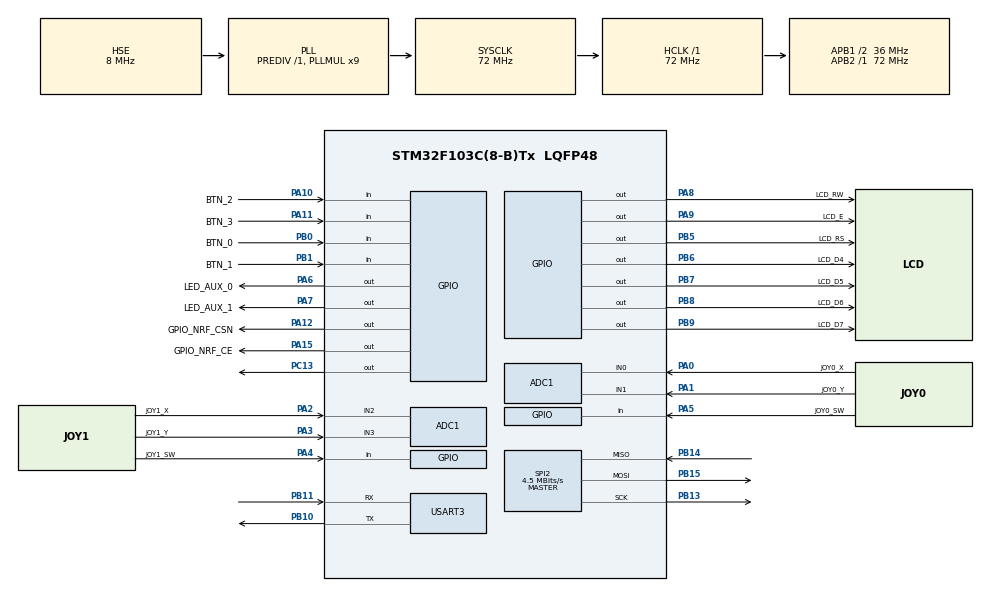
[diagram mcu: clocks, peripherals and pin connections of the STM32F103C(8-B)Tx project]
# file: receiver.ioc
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ADC1.Channel-2\#ChannelRegularConversion=ADC_CHANNEL_0
ADC1.Channel-3\#ChannelRegularConversion=ADC_CHANNEL_1
ADC1.Channel-4\#ChannelRegularConversion=ADC_CHANNEL_2
ADC1.Channel-5\#ChannelRegularConversion=ADC_CHANNEL_3
ADC1.ContinuousConvMode=ENABLE
ADC1.NbrOfConversion=4
ADC1.NbrOfConversionFlag=1
ADC1.Rank-2\#ChannelRegularConversion=1
ADC1.Rank-3\#ChannelRegularConversion=2
ADC1.Rank-4\#ChannelRegularConversion=3
ADC1.Rank-5\#ChannelRegularConversion=4
ADC1.SamplingTime-2\#ChannelRegularConversion=ADC_SAMPLETIME_239CYCLES_5
ADC1.SamplingTime-3\#ChannelRegularConversion=ADC_SAMPLETIME_239CYCLES_5
ADC1.SamplingTime-4\#ChannelRegularConversion=ADC_SAMPLETIME_239CYCLES_5
ADC1.SamplingTime-5\#ChannelRegularConversion=ADC_SAMPLETIME_239CYCLES_5
ADC1.master=1
Dma.ADC1.0.Direction=DMA_PERIPH_TO_MEMORY
Dma.ADC1.0.Instance=DMA1_Channel1
Dma.ADC1.0.MemDataAlignment=DMA_MDATAALIGN_HALFWORD
Dma.ADC1.0.MemInc=DMA_MINC_ENABLE
Dma.ADC1.0.Mode=DMA_CIRCULAR
Dma.ADC1.0.PeriphDataAlignment=DMA_PDATAALIGN_HALFWORD
Dma.ADC1.0.PeriphInc=DMA_PINC_DISABLE
Dma.ADC1.0.Priority=DMA_PRIORITY_LOW
Dma.Request0=ADC1
Mcu.Family=STM32F1
Mcu.Name=STM32F103C(8-B)Tx
Mcu.Package=LQFP48
NVIC.DMA1_Channel1_IRQn=true\:0\:0\:false\:false\:true\:false\:true\:true
NVIC.PriorityGroup=NVIC_PRIORITYGROUP_4
NVIC.TIM3_IRQn=true\:0\:0\:false\:false\:true\:true\:true\:true
NVIC.TIM4_IRQn=true\:0\:0\:false\:false\:true\:true\:true\:true
NVIC.USART3_IRQn=true\:0\:0\:false\:false\:true\:true\:true\:true
PA0-WKUP.GPIO_Label=JOY0_X
PA0-WKUP.Signal=ADCx_IN0
PA1.GPIO_Label=JOY0_Y
PA1.Signal=ADCx_IN1
PA10.GPIO_Label=BTN_2
PA10.GPIO_PuPd=GPIO_PULLDOWN
PA10.Signal=GPIO_Input
PA11.GPIO_Label=BTN_3
PA11.GPIO_PuPd=GPIO_PULLDOWN
PA11.Signal=GPIO_Input
PA12.GPIO_Label=GPIO_NRF_CSN
PA12.Signal=GPIO_Output
PA13.Mode=Serial_Wire
PA13.Signal=SYS_JTMS-SWDIO
PA14.Mode=Serial_Wire
PA14.Signal=SYS_JTCK-SWCLK
PA15.GPIO_Label=GPIO_NRF_CE
PA15.Signal=GPIO_Output
PA2.GPIO_Label=JOY1_X
PA2.Signal=ADCx_IN2
PA3.GPIO_Label=JOY1_Y
PA3.Signal=ADCx_IN3
PA4.GPIO_Label=JOY1_SW
PA4.GPIO_PuPd=GPIO_PULLUP
PA4.Signal=GPIO_Input
PA5.GPIO_Label=JOY0_SW
PA5.GPIO_PuPd=GPIO_PULLUP
PA5.Signal=GPIO_Input
PA6.GPIO_Label=LED_AUX_0
PA6.Signal=GPIO_Output
PA7.GPIO_Label=LED_AUX_1
PA7.Signal=GPIO_Output
PA8.GPIO_Label=LCD_RW
PA8.Signal=GPIO_Output
PA9.GPIO_Label=LCD_E
PA9.Signal=GPIO_Output
PB0.GPIO_Label=BTN_0
PB0.GPIO_PuPd=GPIO_PULLDOWN
PB0.Signal=GPIO_Input
PB1.GPIO_Label=BTN_1
PB1.GPIO_PuPd=GPIO_PULLDOWN
PB1.Signal=GPIO_Input
PB10.Mode=Asynchronous
PB10.Signal=USART3_TX
PB11.Mode=Asynchronous
PB11.Signal=USART3_RX
PB13.Mode=Full_Duplex_Master
PB13.Signal=SPI2_SCK
PB14.Mode=Full_Duplex_Master
PB14.Signal=SPI2_MISO
PB15.Mode=Full_Duplex_Master
PB15.Signal=SPI2_MOSI
PB5.GPIO_Label=LCD_RS
PB5.Signal=GPIO_Output
PB6.GPIO_Label=LCD_D4
PB6.Signal=GPIO_Output
PB7.GPIO_Label=LCD_D5
PB7.Signal=GPIO_Output
PB8.GPIO_Label=LCD_D6
PB8.Signal=GPIO_Output
PB9.GPIO_Label=LCD_D7
PB9.Signal=GPIO_Output
PC13-TAMPER-RTC.Signal=GPIO_Output
PC14-OSC32_IN.Mode=LSE-External-Oscillator
PC14-OSC32_IN.Signal=RCC_OSC32_IN
PC15-OSC32_OUT.Mode=LSE-External-Oscillator
PC15-OSC32_OUT.Signal=RCC_OSC32_OUT
PD0-OSC_IN.Mode=HSE-External-Oscillator
PD0-OSC_IN.Signal=RCC_OSC_IN
PD1-OSC_OUT.Mode=HSE-External-Oscillator
PD1-OSC_OUT.Signal=RCC_OSC_OUT
ProjectManager.HeapSize=0x200
ProjectManager.StackSize=0x400
ProjectManager.TargetToolchain=Makefile
RCC.ADCPresc=RCC_ADCPCLK2_DIV6
RCC.AHBFreq_Value=72000000
RCC.APB1CLKDivider=RCC_HCLK_DIV2
RCC.APB1Freq_Value=36000000
RCC.APB1TimFreq_Value=72000000
RCC.APB2Freq_Value=72000000
RCC.APB2TimFreq_Value=72000000
RCC.HCLKFreq_Value=72000000
RCC.PLLMUL=RCC_PLL_MUL9
RCC.PLLSourceVirtual=RCC_PLLSOURCE_HSE
RCC.SYSCLKFreq_VALUE=72000000
RCC.SYSCLKSource=RCC_SYSCLKSOURCE_PLLCLK
RCC.USBFreq_Value=48000000
RCC.USBPrescaler=RCC_USBCLKSOURCE_PLL_DIV1_5
SH.ADCx_IN0.0=ADC1_IN0,IN0
SH.ADCx_IN1.0=ADC1_IN1,IN1
SH.ADCx_IN2.0=ADC1_IN2,IN2
SH.ADCx_IN3.0=ADC1_IN3,IN3
SPI2.BaudRatePrescaler=SPI_BAUDRATEPRESCALER_8
SPI2.CalculateBaudRate=4.5 MBits/s
SPI2.Direction=SPI_DIRECTION_2LINES
SPI2.Mode=SPI_MODE_MASTER
SPI2.VirtualType=VM_MASTER
TIM3.Period=65535
TIM3.Prescaler=72-1
TIM3.TIM_MasterOutputTrigger=TIM_TRGO_UPDATE
TIM4.Period=36-1
TIM4.Prescaler=10000-1
USART3.VirtualMode=VM_ASYNC
VP_TIM3_VS_ClockSourceINT.Mode=Internal
VP_TIM3_VS_OPM.Mode=OPM_bit
VP_TIM4_VS_ClockSourceINT.Mode=Internal
board=custom

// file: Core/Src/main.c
/* USER CODE BEGIN Header */
/**
 ******************************************************************************
 * @file           : main.c
 * @brief          : Main program body
 ******************************************************************************
 * @attention
 *
 * Copyright (c) 2023 STMicroelectronics.
 * All rights reserved.
 *
 * This software is licensed under terms that can be found in the LICENSE file
 * in the root directory of this software component.
 * If no LICENSE file comes with this software, it is provided AS-IS.
 *
 ******************************************************************************
 */
/* USER CODE END Header */
#include "main.h"

/* USER CODE BEGIN Includes */
#include "crc16.h"
#include "debouncer.h"
#include "lcd.h"
#include "message.h"
#include "nRF24.h"
#include "nRF24_Defs.h"
#include "queue.h"
#include <memory.h>
#include <stdio.h>
/* USER CODE END Includes */

ADC_HandleTypeDef hadc1;
DMA_HandleTypeDef hdma_adc1;

SPI_HandleTypeDef hspi2;

TIM_HandleTypeDef htim3;
TIM_HandleTypeDef htim4;

UART_HandleTypeDef huart3;

void SystemClock_Config(void);
static void MX_GPIO_Init(void);
static void MX_DMA_Init(void);
static void MX_TIM3_Init(void);
static void MX_ADC1_Init(void);
static void MX_SPI2_Init(void);
static void MX_TIM4_Init(void);
static void MX_USART3_UART_Init(void);

/* USER CODE BEGIN 0 */

enum ReceiveState {
    RxHeader,
    RxType,
    RxLength,
    RxReceiving,
    RxReceived
};

enum ReceiveState rx_state;
uint8_t recv_byte;
uint8_t rx_buffer[255];
size_t rx_buffer_index = 0;
uint8_t rx_type = 0;
uint8_t rx_len = 0;

Debouncer sw1_debouncer;
Debouncer sw_stop_debouncer;
Debouncer sw_modeswitch_debouncer;

volatile uint8_t nrf24_rx_flag, nrf24_tx_flag, nrf24_mr_flag;

size_t last_input_update = 0;
size_t last_response_time = 0;
size_t last_msg_time = 0;
MessageType last_response_type = 0;
MessageType last_msg_type = 0;

float press_altitude = 0.0f;
float radar_altitude = 0.0f;
float abs_altitude = 0.0f;

// pitch, yaw, roll
float angles[3] = { 0 };
// X Y Z (global)
float pos[3] = { 0 };

uint8_t motors[4] = { 0 };

float joy0_x = 0.0f;
float joy0_y = 0.0f;
float joy1_x = 0.0f;
float joy1_y = 0.0f;

float pitch_sp = 0.0f;
float yaw_sp = 0.0f;
float roll_sp = 0.0f;
float altitude_sp = 0.0f;

float pitch_tunings[3];
float roll_tunings[3];
float yaw_tunings[3];
float altitude_tunings[3];

float pitch_rate_tunings[3];
float roll_rate_tunings[3];
float yaw_rate_tunings[3];
float vs_tunings[3];

float vertical_speed;
float angular_rates[3];

float received_pitch_tunings[3];
float received_roll_tunings[3];
float received_yaw_tunings[3];
float received_altitude_tunings[3];

float received_pitch_rate_tunings[3];
float received_roll_rate_tunings[3];
float received_yaw_rate_tunings[3];
float received_vs_tunings[3];

bool land_cmd_flag = false;
bool estop_cmd_flag = false;
bool hold_cmd_flag = false;
bool rto_cmd_flag = false;
bool stop_cmd_flag = false;
bool switch_alt_cmd_flag = false;

uint16_t adc_readings[4];

bool connection_ok = false;

char status_string[5] = "^DA-";

float to_degrees(float a)
{
    return a / 3.14f * 180.0f;
}

void HAL_TIM_PeriodElapsedCallback(TIM_HandleTypeDef* htim)
{
    if (htim == &htim4) {
        db_update(&sw1_debouncer);
        db_update(&sw_stop_debouncer);
        db_update(&sw_modeswitch_debouncer);
    }
}

void check_inputs()
{
    joy0_x = (float)(adc_readings[0]) / (4096);
    joy0_y = (float)(adc_readings[1]) / (4096);
    joy1_x = (float)(adc_readings[2]) / (4096);
    joy1_y = (float)(adc_readings[3]) / (4096);
}

typedef enum DisplayScreen {
    DisplayScreen_Summary = 0,
    DisplayScreen_Analog = 1,
    DisplayScreen_Rotation = 2,
    DisplayScreen_Rates = 3,
    DisplayScreen_Position = 4,
    DisplayScreen_Motors = 5,
    DisplayScreen_Altitude = 6,
    DisplayScreen_Other = 7,
    DisplayScreen_Setpoints = 8,
} DisplayScreen;

typedef void (*Display_t)(char[], char[]);

void display_draw_summary(char line_1[], char line_2[])
{
    char is_connected = connection_ok ? '^' : '!';
    // TODO: replace with status received from drone
    float yaw = angles[1];
    sprintf(line_1, "%cHDG:%3.0f %s", is_connected, to_degrees(yaw), status_string);
    sprintf(line_2, "ALT: %.1f (%.1f)", press_altitude, radar_altitude);
}

void display_draw_analog(char line_1[], char line_2[])
{
    sprintf(line_1, "X:%.3f|X:%.3f", joy1_x, joy0_x);
    sprintf(line_2, "Y:%.3f|Y:%.3f", joy1_y, joy0_y);
}

void display_draw_rotation(char line_1[], char line_2[])
{
    sprintf(line_1, "P:%.2f R:%.2f", to_degrees(angles[0]), to_degrees(angles[2]));
    sprintf(line_2, "Y:%.2f", to_degrees(angles[1]));
}

void display_draw_rates(char line_1[], char line_2[])
{
    sprintf(line_1, "Pr:%.0f Rr:%.0f", angular_rates[0], angular_rates[2]);
    sprintf(line_2, "Yr:%.0f V/S:%.3f", angular_rates[1], vertical_speed);
}

void display_draw_position(char line_1[], char line_2[])
{
    sprintf(line_1, "X:%.2f Y:%.2f", pos[0], pos[1]);
}

void display_draw_motors(char line_1[], char line_2[])
{
    sprintf(line_1, "M1: %d M2: %d", motors[0], motors[1]);
    sprintf(line_2, "M3: %d M4: %d", motors[2], motors[3]);
}

void display_draw_altitude(char line_1[], char line_2[])
{
    sprintf(line_1, "R:%0.1f A:%0.1f", press_altitude, abs_altitude);
    sprintf(line_2, "RDR:%0.2f", radar_altitude);
}

void display_draw_other(char line_1[], char line_2[])
{
    sprintf(line_1, "LRT:");
    sprintf(line_2, "%d", last_response_time);
}

void display_draw_setpoints(char line_1[], char line_2[])
{
    sprintf(line_1, "%.2f %.2f", pitch_sp, roll_sp);
    sprintf(line_2, "%.2f %.2f", yaw_sp, altitude_sp);
}

Display_t screens[] = {
    display_draw_summary,
    display_draw_analog,
    display_draw_rotation,
    display_draw_rates,
    display_draw_position,
    display_draw_motors,
    display_draw_altitude,
    display_draw_other,
    display_draw_setpoints,
};

DisplayScreen currentScreen = DisplayScreen_Summary;

void update_display()
{
    LCD_clear();
    char buffer1[32] = { 0 };
    char buffer2[32] = { 0 };
    // get text for currently selected screen
    screens[currentScreen](buffer1, buffer2);
    LCD_position(1, 1);
    LCD_write_text(buffer1, strlen(buffer1));
    LCD_position(1, 2);
    LCD_write_text(buffer2, strlen(buffer2));
}

uint8_t encode_commands()
{
    uint8_t commands = 0;
    if (land_cmd_flag) {
        commands |= MSG_LAND_CMD;
    }
    if (estop_cmd_flag) {
        commands |= MSG_ESTOP_CMD;
    }
    if (hold_cmd_flag) {
        commands |= MSG_HOLD_CMD;
    }
    if (rto_cmd_flag) {
        commands |= MSG_RTO_CMD;
    }
    if (stop_cmd_flag) {
        commands |= MSG_STOP_CMD;
    }
    if (switch_alt_cmd_flag) {
        commands |= MSG_SWITCHALT_CMD;
    }

    land_cmd_flag = false;
    estop_cmd_flag = false;
    hold_cmd_flag = false;
    rto_cmd_flag = false;
    stop_cmd_flag = false;
    switch_alt_cmd_flag = false;

    return commands;
}

Message create_input_msg()
{
    Message msg;
    msg.type = Input;
    float yaw = 0.983f - 2.0f * joy1_y;
    float pitch = 0.983f - 2.0f * joy0_y;
    float roll = 2.0f * joy0_x - 0.983f;
    float alt = 2.0f * joy1_x - 0.983f;
    uint8_t commands = encode_commands();

    memcpy(&msg.data[0], &pitch, sizeof(float));
    memcpy(&msg.data[4], &yaw, sizeof(float));
    memcpy(&msg.data[8], &roll, sizeof(float));
    memcpy(&msg.data[12], &alt, sizeof(float));
    memcpy(&msg.data[16], &commands, sizeof(uint8_t));

    return msg;
}

Message create_settuningsPR_message(float pitch_tunings[3], float roll_tunings[3])
{
    Message msg;
    msg.type = SetTuningsPR;
    memcpy(&msg.data[0], pitch_tunings, sizeof(float) * 3);
    memcpy(&msg.data[12], roll_tunings, sizeof(float) * 3);
    return msg;
}

Message create_settuningsYA_message(float yaw_tunings[3], float altitude_tunings[3])
{
    Message msg;
    msg.type = SetTuningsYA;
    memcpy(&msg.data[0], yaw_tunings, sizeof(float) * 3);
    memcpy(&msg.data[12], altitude_tunings, sizeof(float) * 3);
    return msg;
}

Message create_settuningsPrRr_message(float pr_tunings[3], float rr_tunings[3])
{
    Message msg;
    msg.type = SetTuningsPrRr;
    memcpy(&msg.data[0], pr_tunings, sizeof(float) * 3);
    memcpy(&msg.data[12], rr_tunings, sizeof(float) * 3);
    return msg;
}

Message create_settuningsYrVs_message(float yr_tunings[3], float vs_tunings[3])
{
    Message msg;
    msg.type = SetTuningsYrVs;
    memcpy(&msg.data[0], yr_tunings, sizeof(float) * 3);
    memcpy(&msg.data[12], vs_tunings, sizeof(float) * 3);
    return msg;
}

void receive_byte(uint8_t byte)
{
    switch (rx_state) {
    case RxHeader:
        if (byte == 0b10101010) {
            rx_state = RxType;
        }
        break;
    case RxType:
        rx_type = byte;
        rx_state = RxLength;
        break;
    case RxLength:
        rx_len = byte;
        if (rx_len == 0) {
            rx_state = RxReceived;
        } else {
            rx_state = RxReceiving;
        }
        break;
    case RxReceiving:
        rx_buffer[rx_buffer_index] = byte;
        if (rx_buffer_index >= rx_len + 2) {
            rx_state = RxReceived;
        }
        rx_buffer_index++;
        break;
    case RxReceived:
        break;
    }
}

void HAL_UART_RxCpltCallback(UART_HandleTypeDef* huart)
{
    if (huart == &huart3) {
        receive_byte(recv_byte);
        HAL_UART_Receive_IT(&huart3, &recv_byte, 1);
    }
}

void parse_uart_input(Queue* queue)
{
    if (rx_type == 1) {
        Message msg;
        msg.type = DataRequest;
        queue_push(queue, &msg);
    } else {
        uint16_t crc = (uint16_t)(rx_buffer[rx_len]) | (uint16_t)(rx_buffer[rx_len + 1] << 8);
        uint16_t verify_crc = crc16(rx_buffer, rx_len);
        if (crc == verify_crc) {
            memcpy(received_pitch_tunings, &rx_buffer[0], sizeof(float) * 3);
            memcpy(received_roll_tunings, &rx_buffer[12], sizeof(float) * 3);
            memcpy(received_yaw_tunings, &rx_buffer[24], sizeof(float) * 3);
            memcpy(received_altitude_tunings, &rx_buffer[36], sizeof(float) * 3);
            memcpy(received_pitch_rate_tunings, &rx_buffer[48], sizeof(float) * 3);
            memcpy(received_roll_rate_tunings, &rx_buffer[60], sizeof(float) * 3);
            memcpy(received_yaw_rate_tunings, &rx_buffer[72], sizeof(float) * 3);
            memcpy(received_vs_tunings, &rx_buffer[84], sizeof(float) * 3);
            Message pr = create_settuningsPR_message(received_pitch_tunings, received_roll_tunings);
            Message yt = create_settuningsYA_message(received_yaw_tunings, received_altitude_tunings);
            Message prrr = create_settuningsPrRr_message(received_pitch_rate_tunings, received_roll_rate_tunings);
            Message yrvs = create_settuningsYrVs_message(received_yaw_rate_tunings, received_vs_tunings);
            queue_push(queue, &pr);
            queue_push(queue, &yt);
            queue_push(queue, &prrr);
            queue_push(queue, &yrvs);
        }
    }

    rx_state = RxHeader;
    rx_len = 0;
    rx_type = 0;
    rx_buffer_index = 0;
}

void update_values(Message msg)
{
    switch (msg.type) {
    case GetPosition:
        memcpy(angles, &msg.data[0], sizeof(float) * 3);
        memcpy(&pos[0], &msg.data[12], sizeof(float));
        memcpy(&pos[1], &msg.data[16], sizeof(float));
        memcpy(&press_altitude, &msg.data[20], sizeof(float));
        memcpy(&radar_altitude, &msg.data[24], sizeof(float));
        break;
    case GetStatus:
        memcpy(motors, &msg.data[0], sizeof(uint8_t) * 4);
        memcpy(&altitude_sp, &msg.data[4], sizeof(float));
        memcpy(&pitch_sp, &msg.data[8], sizeof(float));
        memcpy(&yaw_sp, &msg.data[12], sizeof(float));
        memcpy(&roll_sp, &msg.data[16], sizeof(float));
        memcpy(&abs_altitude, &msg.data[20], sizeof(float));
        memcpy(&status_string, &msg.data[24], 5);
        break;
    case GetTuningsPR:
        memcpy(pitch_tunings, &msg.data[0], sizeof(float) * 3);
        memcpy(roll_tunings, &msg.data[12], sizeof(float) * 3);
        break;
    case GetTuningsYA:
        memcpy(yaw_tunings, &msg.data[0], sizeof(float) * 3);
        memcpy(altitude_tunings, &msg.data[12], sizeof(float) * 3);
        break;
    case GetTuningsPrRr:
        memcpy(pitch_rate_tunings, &msg.data[0], sizeof(float) * 3);
        memcpy(roll_rate_tunings, &msg.data[12], sizeof(float) * 3);
        break;
    case GetTuningsYrVs:
        memcpy(yaw_rate_tunings, &msg.data[0], sizeof(float) * 3);
        memcpy(vs_tunings, &msg.data[12], sizeof(float) * 3);
        break;
    case GetRates:
        memcpy(angular_rates, &msg.data[0], sizeof(float) * 3);
        memcpy(&vertical_speed, &msg.data[12], sizeof(float));
        break;
    default:
        break;
    }
}

void transmit_message(Message msg)
{
    uint8_t buffer[32];
    serialize_msg(buffer, &msg);
    nRF24_WriteTXPayload(buffer, NRF24_PAYLOAD_SIZE);
    nRF24_WaitTX();
}

Message receive_message()
{
    uint8_t buffer[32] = { 0 };
    uint8_t read = 0;
    nRF24_ReadRXPaylaod(buffer, &read);

    Message resp;
    resp.type = buffer[0];
    memcpy(resp.data, &buffer[1], 31);
    last_response_type = resp.type;

    return resp;
}

void init_transceiver()
{
    nRF24_Init(&hspi2);
    nRF24_SetRXAddress(0, (uint8_t*)"Pil");
    nRF24_SetTXAddress((uint8_t*)"Dro");
    nRF24_SetCRCLength(NRF24_CRC_WIDTH_2B);
    nRF24_TX_Mode();
}

void send_message(Queue* queue)
{
    const int response_tries_treshold = 50;

    if (!queue_empty(queue)) {
        HAL_GPIO_WritePin(GPIOC, GPIO_PIN_13, 0);
        Message* msg = queue_get(queue);

        transmit_message(*msg);
        bool response_received = false;

        for (int i = 0; i < response_tries_treshold && !response_received; i++) {
            HAL_Delay(1);
            response_received = nRF24_RXAvailible();
        }

        if (response_received) {
            Message resp = receive_message();
            connection_ok = true;
            last_response_time = HAL_GetTick();
            update_values(resp);
        } else {
            connection_ok = false;
            nRF24_FlushTX();
            nRF24_FlushRX();
            init_transceiver();
            nRF24_FlushTX();
            nRF24_FlushRX();
            while (!queue_empty(queue)) {
                queue_pop(queue);
            }
        }

        last_msg_time = HAL_GetTick();
        last_msg_type = msg->type;
        queue_pop(queue);
        HAL_GPIO_WritePin(GPIOC, GPIO_PIN_13, 1);
    }
}

void delay_us(uint16_t us)
{
    HAL_TIM_Base_Stop(&htim3);
    htim3.Instance->CNT = 0;
    HAL_TIM_Base_Start(&htim3);
    while (htim3.Instance->CNT <= us) {
        // wait
    }
}

void send_update_via_serial()
{
    uint8_t buffer[255];
    buffer[0] = 0b10101010;
    buffer[1] = 0;
    buffer[2] = 184;
    memcpy(&buffer[3], angles, sizeof(float) * 3);
    memcpy(&buffer[15], pos, sizeof(float) * 2);
    memcpy(&buffer[23], &press_altitude, sizeof(float));
    memcpy(&buffer[27], &radar_altitude, sizeof(float));
    memcpy(&buffer[31], &abs_altitude, sizeof(float));
    memcpy(&buffer[35], &pitch_sp, sizeof(float));
    memcpy(&buffer[39], &yaw_sp, sizeof(float));
    memcpy(&buffer[43], &roll_sp, sizeof(float));
    memcpy(&buffer[47], &altitude_sp, sizeof(float));
    memcpy(&buffer[51], &motors, sizeof(uint8_t) * 4);
    memcpy(&buffer[55], &pitch_tunings, sizeof(float) * 3);
    memcpy(&buffer[67], &roll_tunings, sizeof(float) * 3);
    memcpy(&buffer[79], &yaw_tunings, sizeof(float) * 3);
    memcpy(&buffer[91], &altitude_tunings, sizeof(float) * 3);
    memcpy(&buffer[103], &last_response_time, sizeof(size_t));
    memcpy(&buffer[107], &joy0_x, sizeof(float));
    memcpy(&buffer[111], &joy0_y, sizeof(float));
    memcpy(&buffer[115], &joy1_x, sizeof(float));
    memcpy(&buffer[119], &joy1_y, sizeof(float));
    memcpy(&buffer[123], &pitch_rate_tunings, sizeof(float) * 3);
    memcpy(&buffer[135], &roll_rate_tunings, sizeof(float) * 3);
    memcpy(&buffer[147], &yaw_rate_tunings, sizeof(float) * 3);
    memcpy(&buffer[159], &vs_tunings, sizeof(float) * 3);
    memcpy(&buffer[171], &angular_rates, sizeof(float) * 3);
    memcpy(&buffer[183], &vertical_speed, sizeof(float));
    uint16_t crc = crc16(&buffer[3], 184);
    buffer[187] = (uint8_t)(crc);
    buffer[188] = (uint8_t)(crc >> 8);

    HAL_UART_Transmit(&huart3, buffer, 189, HAL_MAX_DELAY);
}

/* USER CODE END 0 */

int main(void)
{

    /* MCU Configuration--------------------------------------------------------*/

    /* Reset of all peripherals, Initializes the Flash interface and the Systick. */
    HAL_Init();

    /* Configure the system clock */
    SystemClock_Config();

    /* Initialize all configured peripherals */
    MX_GPIO_Init();
    MX_DMA_Init();
    MX_TIM3_Init();
    MX_ADC1_Init();
    MX_SPI2_Init();
    MX_TIM4_Init();
    MX_USART3_UART_Init();
    /* USER CODE BEGIN 2 */
    HAL_UART_Receive_IT(&huart3, &recv_byte, 1);
    sw1_debouncer = db_init(JOY1_SW_GPIO_Port, JOY1_SW_Pin, true, 5);
    sw_stop_debouncer = db_init(BTN_0_GPIO_Port, BTN_0_Pin, false, 5);
    sw_modeswitch_debouncer = db_init(BTN_1_GPIO_Port, BTN_1_Pin, false, 5);

    HAL_Delay(1000);

    init_transceiver();

    HAL_GPIO_WritePin(GPIOC, GPIO_PIN_13, 1);

    Queue* msg_queue = queue_create(10, sizeof(Message));

    HAL_ADC_Start_DMA(&hadc1, (uint32_t*)adc_readings, 4);

    // debouncing timer
    HAL_TIM_Base_Start_IT(&htim4);

    // Init LCD display
    LCD_init(delay_us);
    LCD_clear();

    int estopButtonCounter = 0;
    const int estopButtonTreshold = 50;

    /* USER CODE END 2 */

    /* Infinite loop */
    /* USER CODE BEGIN WHILE */

    const int msg_send_period = 60;
    const int screen_update_period = 100;
    size_t last_screen_update = 0;

    while (1) {
        check_inputs();
        size_t current_time = HAL_GetTick();

        if (rx_state == RxReceived) {
            parse_uart_input(msg_queue);
        }

        if (current_time - last_screen_update >= screen_update_period) {
            update_display();
            last_screen_update = HAL_GetTick();
        }

        if (current_time - last_msg_time > msg_send_period) {
            Message msg = create_input_msg();
            queue_push(msg_queue, &msg);
            send_message(msg_queue);
        }

        if (db_is_pressed(&sw1_debouncer) && db_state_changed(&sw1_debouncer)) {
            currentScreen += 1;
            if (currentScreen > DisplayScreen_Setpoints) {
                currentScreen = DisplayScreen_Summary;
            }
        }

        if (db_is_pressed(&sw_modeswitch_debouncer) && db_state_changed(&sw_modeswitch_debouncer)) {
            switch_alt_cmd_flag = true;
        }

        if (db_is_pressed(&sw_stop_debouncer)) {
            stop_cmd_flag = true;
            estopButtonCounter++;
        } else {
            estopButtonCounter = 0;
        }

        if (estopButtonCounter >= estopButtonTreshold) {
            estop_cmd_flag = true;
        }

        send_update_via_serial();
    }

    /* USER CODE END WHILE */

}

void SystemClock_Config(void)
{
    RCC_OscInitTypeDef RCC_OscInitStruct = { 0 };
    RCC_ClkInitTypeDef RCC_ClkInitStruct = { 0 };
    RCC_PeriphCLKInitTypeDef PeriphClkInit = { 0 };

    /** Initializes the RCC Oscillators according to the specified parameters
     * in the RCC_OscInitTypeDef structure.
     */
    RCC_OscInitStruct.OscillatorType = RCC_OSCILLATORTYPE_HSE;
    RCC_OscInitStruct.HSEState = RCC_HSE_ON;
    RCC_OscInitStruct.HSEPredivValue = RCC_HSE_PREDIV_DIV1;
    RCC_OscInitStruct.HSIState = RCC_HSI_ON;
    RCC_OscInitStruct.PLL.PLLState = RCC_PLL_ON;
    RCC_OscInitStruct.PLL.PLLSource = RCC_PLLSOURCE_HSE;
    RCC_OscInitStruct.PLL.PLLMUL = RCC_PLL_MUL9;
    if (HAL_RCC_OscConfig(&RCC_OscInitStruct) != HAL_OK) {
        Error_Handler();
    }

    /** Initializes the CPU, AHB and APB buses clocks
     */
    RCC_ClkInitStruct.ClockType = RCC_CLOCKTYPE_HCLK | RCC_CLOCKTYPE_SYSCLK
        | RCC_CLOCKTYPE_PCLK1 | RCC_CLOCKTYPE_PCLK2;
    RCC_ClkInitStruct.SYSCLKSource = RCC_SYSCLKSOURCE_PLLCLK;
    RCC_ClkInitStruct.AHBCLKDivider = RCC_SYSCLK_DIV1;
    RCC_ClkInitStruct.APB1CLKDivider = RCC_HCLK_DIV2;
    RCC_ClkInitStruct.APB2CLKDivider = RCC_HCLK_DIV1;

    if (HAL_RCC_ClockConfig(&RCC_ClkInitStruct, FLASH_LATENCY_2) != HAL_OK) {
        Error_Handler();
    }
    PeriphClkInit.PeriphClockSelection = RCC_PERIPHCLK_ADC;
    PeriphClkInit.AdcClockSelection = RCC_ADCPCLK2_DIV6;
    if (HAL_RCCEx_PeriphCLKConfig(&PeriphClkInit) != HAL_OK) {
        Error_Handler();
    }
}

static void MX_ADC1_Init(void)
{

    ADC_ChannelConfTypeDef sConfig = { 0 };

    /** Common config
     */
    hadc1.Instance = ADC1;
    hadc1.Init.ScanConvMode = ADC_SCAN_ENABLE;
    hadc1.Init.ContinuousConvMode = ENABLE;
    hadc1.Init.DiscontinuousConvMode = DISABLE;
    hadc1.Init.ExternalTrigConv = ADC_SOFTWARE_START;
    hadc1.Init.DataAlign = ADC_DATAALIGN_RIGHT;
    hadc1.Init.NbrOfConversion = 4;
    if (HAL_ADC_Init(&hadc1) != HAL_OK) {
        Error_Handler();
    }

    /** Configure Regular Channel
     */
    sConfig.Channel = ADC_CHANNEL_0;
    sConfig.Rank = ADC_REGULAR_RANK_1;
    sConfig.SamplingTime = ADC_SAMPLETIME_239CYCLES_5;
    if (HAL_ADC_ConfigChannel(&hadc1, &sConfig) != HAL_OK) {
        Error_Handler();
    }

    /** Configure Regular Channel
     */
    sConfig.Channel = ADC_CHANNEL_1;
    sConfig.Rank = ADC_REGULAR_RANK_2;
    if (HAL_ADC_ConfigChannel(&hadc1, &sConfig) != HAL_OK) {
        Error_Handler();
    }

    /** Configure Regular Channel
     */
    sConfig.Channel = ADC_CHANNEL_2;
    sConfig.Rank = ADC_REGULAR_RANK_3;
    if (HAL_ADC_ConfigChannel(&hadc1, &sConfig) != HAL_OK) {
        Error_Handler();
    }

    /** Configure Regular Channel
     */
    sConfig.Channel = ADC_CHANNEL_3;
    sConfig.Rank = ADC_REGULAR_RANK_4;
    if (HAL_ADC_ConfigChannel(&hadc1, &sConfig) != HAL_OK) {
        Error_Handler();
    }
}

static void MX_SPI2_Init(void)
{

    /* SPI2 parameter configuration*/
    hspi2.Instance = SPI2;
    hspi2.Init.Mode = SPI_MODE_MASTER;
    hspi2.Init.Direction = SPI_DIRECTION_2LINES;
    hspi2.Init.DataSize = SPI_DATASIZE_8BIT;
    hspi2.Init.CLKPolarity = SPI_POLARITY_LOW;
    hspi2.Init.CLKPhase = SPI_PHASE_1EDGE;
    hspi2.Init.NSS = SPI_NSS_SOFT;
    hspi2.Init.BaudRatePrescaler = SPI_BAUDRATEPRESCALER_8;
    hspi2.Init.FirstBit = SPI_FIRSTBIT_MSB;
    hspi2.Init.TIMode = SPI_TIMODE_DISABLE;
    hspi2.Init.CRCCalculation = SPI_CRCCALCULATION_DISABLE;
    hspi2.Init.CRCPolynomial = 10;
    if (HAL_SPI_Init(&hspi2) != HAL_OK) {
        Error_Handler();
    }
}

static void MX_TIM3_Init(void)
{

    TIM_ClockConfigTypeDef sClockSourceConfig = { 0 };
    TIM_MasterConfigTypeDef sMasterConfig = { 0 };

    htim3.Instance = TIM3;
    htim3.Init.Prescaler = 72 - 1;
    htim3.Init.CounterMode = TIM_COUNTERMODE_UP;
    htim3.Init.Period = 65535;
    htim3.Init.ClockDivision = TIM_CLOCKDIVISION_DIV1;
    htim3.Init.AutoReloadPreload = TIM_AUTORELOAD_PRELOAD_DISABLE;
    if (HAL_TIM_Base_Init(&htim3) != HAL_OK) {
        Error_Handler();
    }
    sClockSourceConfig.ClockSource = TIM_CLOCKSOURCE_INTERNAL;
    if (HAL_TIM_ConfigClockSource(&htim3, &sClockSourceConfig) != HAL_OK) {
        Error_Handler();
    }
    if (HAL_TIM_OnePulse_Init(&htim3, TIM_OPMODE_SINGLE) != HAL_OK) {
        Error_Handler();
    }
    sMasterConfig.MasterOutputTrigger = TIM_TRGO_UPDATE;
    sMasterConfig.MasterSlaveMode = TIM_MASTERSLAVEMODE_DISABLE;
    if (HAL_TIMEx_MasterConfigSynchronization(&htim3, &sMasterConfig) != HAL_OK) {
        Error_Handler();
    }
}

static void MX_TIM4_Init(void)
{

    TIM_ClockConfigTypeDef sClockSourceConfig = { 0 };
    TIM_MasterConfigTypeDef sMasterConfig = { 0 };

    htim4.Instance = TIM4;
    htim4.Init.Prescaler = 10000 - 1;
    htim4.Init.CounterMode = TIM_COUNTERMODE_UP;
    htim4.Init.Period = 36 - 1;
    htim4.Init.ClockDivision = TIM_CLOCKDIVISION_DIV1;
    htim4.Init.AutoReloadPreload = TIM_AUTORELOAD_PRELOAD_DISABLE;
    if (HAL_TIM_Base_Init(&htim4) != HAL_OK) {
        Error_Handler();
    }
    sClockSourceConfig.ClockSource = TIM_CLOCKSOURCE_INTERNAL;
    if (HAL_TIM_ConfigClockSource(&htim4, &sClockSourceConfig) != HAL_OK) {
        Error_Handler();
    }
    sMasterConfig.MasterOutputTrigger = TIM_TRGO_RESET;
    sMasterConfig.MasterSlaveMode = TIM_MASTERSLAVEMODE_DISABLE;
    if (HAL_TIMEx_MasterConfigSynchronization(&htim4, &sMasterConfig) != HAL_OK) {
        Error_Handler();
    }
}

static void MX_USART3_UART_Init(void)
{

    huart3.Instance = USART3;
    huart3.Init.BaudRate = 115200;
    huart3.Init.WordLength = UART_WORDLENGTH_8B;
    huart3.Init.StopBits = UART_STOPBITS_1;
    huart3.Init.Parity = UART_PARITY_NONE;
    huart3.Init.Mode = UART_MODE_TX_RX;
    huart3.Init.HwFlowCtl = UART_HWCONTROL_NONE;
    huart3.Init.OverSampling = UART_OVERSAMPLING_16;
    if (HAL_UART_Init(&huart3) != HAL_OK) {
        Error_Handler();
    }
}

static void MX_DMA_Init(void)
{

    /* DMA controller clock enable */
    __HAL_RCC_DMA1_CLK_ENABLE();

    /* DMA interrupt init */
    /* DMA1_Channel1_IRQn interrupt configuration */
    HAL_NVIC_SetPriority(DMA1_Channel1_IRQn, 0, 0);
    HAL_NVIC_EnableIRQ(DMA1_Channel1_IRQn);
}

static void MX_GPIO_Init(void)
{
    GPIO_InitTypeDef GPIO_InitStruct = { 0 };

    /* GPIO Ports Clock Enable */
    __HAL_RCC_GPIOC_CLK_ENABLE();
    __HAL_RCC_GPIOD_CLK_ENABLE();
    __HAL_RCC_GPIOA_CLK_ENABLE();
    __HAL_RCC_GPIOB_CLK_ENABLE();

    /*Configure GPIO pin Output Level */
    HAL_GPIO_WritePin(GPIOC, GPIO_PIN_13, GPIO_PIN_RESET);

    /*Configure GPIO pin Output Level */
    HAL_GPIO_WritePin(GPIOA, LED_AUX_0_Pin | LED_AUX_1_Pin | LCD_RW_Pin | LCD_E_Pin | GPIO_NRF_CSN_Pin | GPIO_NRF_CE_Pin, GPIO_PIN_RESET);

    /*Configure GPIO pin Output Level */
    HAL_GPIO_WritePin(GPIOB, LCD_RS_Pin | LCD_D4_Pin | LCD_D5_Pin | LCD_D6_Pin | LCD_D7_Pin, GPIO_PIN_RESET);

    /*Configure GPIO pin : PC13 */
    GPIO_InitStruct.Pin = GPIO_PIN_13;
    GPIO_InitStruct.Mode = GPIO_MODE_OUTPUT_PP;
    GPIO_InitStruct.Pull = GPIO_NOPULL;
    GPIO_InitStruct.Speed = GPIO_SPEED_FREQ_LOW;
    HAL_GPIO_Init(GPIOC, &GPIO_InitStruct);

    /*Configure GPIO pins : JOY1_SW_Pin JOY0_SW_Pin */
    GPIO_InitStruct.Pin = JOY1_SW_Pin | JOY0_SW_Pin;
    GPIO_InitStruct.Mode = GPIO_MODE_INPUT;
    GPIO_InitStruct.Pull = GPIO_PULLUP;
    HAL_GPIO_Init(GPIOA, &GPIO_InitStruct);

    /*Configure GPIO pins : LED_AUX_0_Pin LED_AUX_1_Pin LCD_RW_Pin LCD_E_Pin
                             GPIO_NRF_CSN_Pin GPIO_NRF_CE_Pin */
    GPIO_InitStruct.Pin = LED_AUX_0_Pin | LED_AUX_1_Pin | LCD_RW_Pin | LCD_E_Pin
        | GPIO_NRF_CSN_Pin | GPIO_NRF_CE_Pin;
    GPIO_InitStruct.Mode = GPIO_MODE_OUTPUT_PP;
    GPIO_InitStruct.Pull = GPIO_NOPULL;
    GPIO_InitStruct.Speed = GPIO_SPEED_FREQ_LOW;
    HAL_GPIO_Init(GPIOA, &GPIO_InitStruct);

    /*Configure GPIO pins : BTN_0_Pin BTN_1_Pin */
    GPIO_InitStruct.Pin = BTN_0_Pin | BTN_1_Pin;
    GPIO_InitStruct.Mode = GPIO_MODE_INPUT;
    GPIO_InitStruct.Pull = GPIO_PULLDOWN;
    HAL_GPIO_Init(GPIOB, &GPIO_InitStruct);

    /*Configure GPIO pins : BTN_2_Pin BTN_3_Pin */
    GPIO_InitStruct.Pin = BTN_2_Pin | BTN_3_Pin;
    GPIO_InitStruct.Mode = GPIO_MODE_INPUT;
    GPIO_InitStruct.Pull = GPIO_PULLDOWN;
    HAL_GPIO_Init(GPIOA, &GPIO_InitStruct);

    /*Configure GPIO pins : LCD_RS_Pin LCD_D4_Pin LCD_D5_Pin LCD_D6_Pin
                             LCD_D7_Pin */
    GPIO_InitStruct.Pin = LCD_RS_Pin | LCD_D4_Pin | LCD_D5_Pin | LCD_D6_Pin
        | LCD_D7_Pin;
    GPIO_InitStruct.Mode = GPIO_MODE_OUTPUT_PP;
    GPIO_InitStruct.Pull = GPIO_NOPULL;
    GPIO_InitStruct.Speed = GPIO_SPEED_FREQ_LOW;
    HAL_GPIO_Init(GPIOB, &GPIO_InitStruct);
}

void Error_Handler(void)
{
    __disable_irq();
    while (1) {
    }
}
